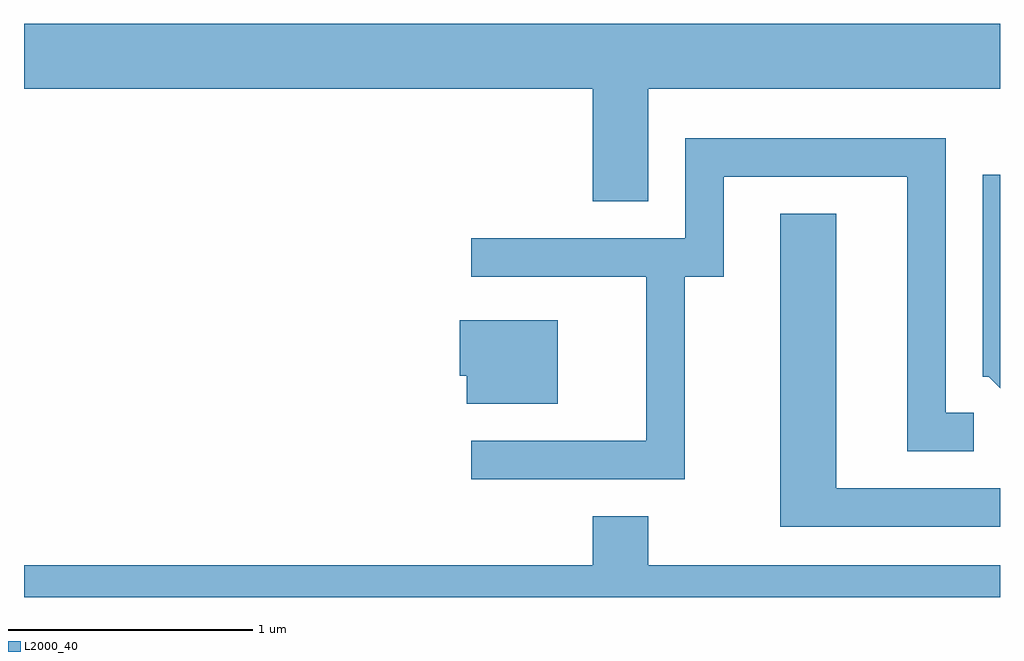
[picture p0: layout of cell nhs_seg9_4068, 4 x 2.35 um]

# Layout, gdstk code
import gdstk
lib = gdstk.Library(unit=1e-6, precision=1e-09)
def P(c, l, *ps):  # polygons
    for p in ps: c.add(gdstk.Polygon(p, *l))
L2000_40 = (2000, 40)

nhs_seg9_4068 = lib.new_cell('nhs_seg9_4068')
P(nhs_seg9_4068, L2000_40, [(308.169,1958.516),(309.611,1958.516),(309.611,1958.784),(305.611,1958.784),(305.611,1958.516),(307.941,1958.516),(307.941,1958.056),(308.169,1958.056)],
  [(308.319,1957.746),(308.479,1957.746),(308.479,1958.156),(309.231,1958.156),(309.231,1957.031),(309.503,1957.031),(309.503,1957.189),(309.389,1957.189),(309.389,1958.314),(308.321,1958.314),(308.321,1957.904),(307.443,1957.904),(307.443,1957.746),(308.161,1957.746),(308.161,1957.074),(307.443,1957.074),(307.443,1956.916),(308.319,1956.916)],
  [(309.611,1958.164),(309.541,1958.164),(309.541,1957.336),(309.564,1957.336),(309.611,1957.289)],
  [(309.611,1956.879),(308.939,1956.879),(308.939,1958.004),(308.711,1958.004),(308.711,1956.721),(309.611,1956.721)],
  [(307.799,1957.569),(307.396,1957.569),(307.396,1957.341),(307.426,1957.341),(307.426,1957.226),(307.799,1957.226)],
  [(309.611,1956.564),(308.169,1956.564),(308.169,1956.764),(307.941,1956.764),(307.941,1956.564),(305.611,1956.564),(305.611,1956.432),(309.611,1956.432)])

lib.write_gds('nhs_seg9_4068.gds')
